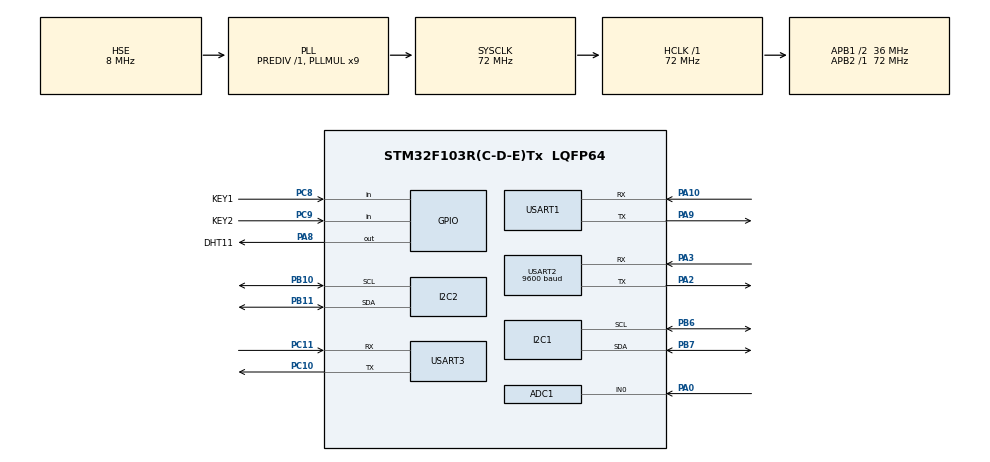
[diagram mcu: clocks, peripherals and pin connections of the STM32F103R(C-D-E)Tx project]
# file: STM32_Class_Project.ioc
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ADC1.Channel-0\#ChannelRegularConversion=ADC_CHANNEL_0
ADC1.ContinuousConvMode=ENABLE
ADC1.NbrOfConversionFlag=1
ADC1.Rank-0\#ChannelRegularConversion=1
ADC1.SamplingTime-0\#ChannelRegularConversion=ADC_SAMPLETIME_1CYCLE_5
ADC1.master=1
Dma.ADC1.0.Direction=DMA_PERIPH_TO_MEMORY
Dma.ADC1.0.Instance=DMA1_Channel1
Dma.ADC1.0.MemDataAlignment=DMA_MDATAALIGN_WORD
Dma.ADC1.0.MemInc=DMA_MINC_ENABLE
Dma.ADC1.0.Mode=DMA_CIRCULAR
Dma.ADC1.0.PeriphDataAlignment=DMA_PDATAALIGN_WORD
Dma.ADC1.0.PeriphInc=DMA_PINC_DISABLE
Dma.ADC1.0.Priority=DMA_PRIORITY_MEDIUM
Dma.Request0=ADC1
Dma.Request1=USART2_RX
Dma.Request2=USART3_RX
Dma.Request3=USART3_TX
Dma.USART2_RX.1.Direction=DMA_PERIPH_TO_MEMORY
Dma.USART2_RX.1.Instance=DMA1_Channel6
Dma.USART2_RX.1.MemDataAlignment=DMA_MDATAALIGN_BYTE
Dma.USART2_RX.1.MemInc=DMA_MINC_ENABLE
Dma.USART2_RX.1.Mode=DMA_NORMAL
Dma.USART2_RX.1.PeriphDataAlignment=DMA_PDATAALIGN_BYTE
Dma.USART2_RX.1.PeriphInc=DMA_PINC_DISABLE
Dma.USART2_RX.1.Priority=DMA_PRIORITY_HIGH
Dma.USART3_RX.2.Direction=DMA_PERIPH_TO_MEMORY
Dma.USART3_RX.2.Instance=DMA1_Channel3
Dma.USART3_RX.2.MemDataAlignment=DMA_MDATAALIGN_BYTE
Dma.USART3_RX.2.MemInc=DMA_MINC_ENABLE
Dma.USART3_RX.2.Mode=DMA_CIRCULAR
Dma.USART3_RX.2.PeriphDataAlignment=DMA_PDATAALIGN_BYTE
Dma.USART3_RX.2.PeriphInc=DMA_PINC_DISABLE
Dma.USART3_RX.2.Priority=DMA_PRIORITY_MEDIUM
Dma.USART3_TX.3.Direction=DMA_MEMORY_TO_PERIPH
Dma.USART3_TX.3.Instance=DMA1_Channel2
Dma.USART3_TX.3.MemDataAlignment=DMA_MDATAALIGN_BYTE
Dma.USART3_TX.3.MemInc=DMA_MINC_ENABLE
Dma.USART3_TX.3.Mode=DMA_NORMAL
Dma.USART3_TX.3.PeriphDataAlignment=DMA_PDATAALIGN_BYTE
Dma.USART3_TX.3.PeriphInc=DMA_PINC_DISABLE
Dma.USART3_TX.3.Priority=DMA_PRIORITY_MEDIUM
I2C2.I2C_Mode=I2C_Fast
Mcu.Family=STM32F1
Mcu.Name=STM32F103R(C-D-E)Tx
Mcu.Package=LQFP64
NVIC.ADC1_2_IRQn=true\:2\:0\:true\:false\:true\:true\:true\:true
NVIC.DMA1_Channel1_IRQn=true\:0\:0\:false\:false\:true\:false\:true\:true
NVIC.DMA1_Channel2_IRQn=true\:0\:0\:false\:false\:true\:false\:true\:true
NVIC.DMA1_Channel3_IRQn=true\:0\:0\:false\:false\:true\:false\:true\:true
NVIC.DMA1_Channel6_IRQn=true\:0\:0\:false\:false\:true\:false\:true\:true
NVIC.PriorityGroup=NVIC_PRIORITYGROUP_4
NVIC.USART1_IRQn=true\:0\:0\:true\:false\:true\:true\:true\:true
NVIC.USART2_IRQn=true\:2\:0\:true\:false\:true\:true\:true\:true
NVIC.USART3_IRQn=true\:0\:0\:false\:false\:true\:true\:true\:true
PA0-WKUP.Signal=ADCx_IN0
PA10.Mode=Asynchronous
PA10.Signal=USART1_RX
PA13.Mode=Serial_Wire
PA13.Signal=SYS_JTMS-SWDIO
PA14.Mode=Serial_Wire
PA14.Signal=SYS_JTCK-SWCLK
PA2.Mode=Asynchronous
PA2.Signal=USART2_TX
PA3.Mode=Asynchronous
PA3.Signal=USART2_RX
PA8.GPIO_Label=DHT11
PA8.Signal=GPIO_Output
PA9.Mode=Asynchronous
PA9.Signal=USART1_TX
PB10.Mode=I2C
PB10.Signal=I2C2_SCL
PB11.Mode=I2C
PB11.Signal=I2C2_SDA
PB6.Mode=I2C
PB6.Signal=I2C1_SCL
PB7.Mode=I2C
PB7.Signal=I2C1_SDA
PC10.Mode=Asynchronous
PC10.Signal=USART3_TX
PC11.Mode=Asynchronous
PC11.Signal=USART3_RX
PC8.GPIO_Label=KEY1
PC8.Signal=GPIO_Input
PC9.GPIO_Label=KEY2
PC9.Signal=GPIO_Input
PD0-OSC_IN.Mode=HSE-External-Oscillator
PD0-OSC_IN.Signal=RCC_OSC_IN
PD1-OSC_OUT.Mode=HSE-External-Oscillator
PD1-OSC_OUT.Signal=RCC_OSC_OUT
ProjectManager.HeapSize=0x200
ProjectManager.StackSize=0x400
ProjectManager.TargetToolchain=CMake
RCC.ADCPresc=RCC_ADCPCLK2_DIV6
RCC.AHBFreq_Value=72000000
RCC.APB1CLKDivider=RCC_HCLK_DIV2
RCC.APB1Freq_Value=36000000
RCC.APB1TimFreq_Value=72000000
RCC.APB2Freq_Value=72000000
RCC.APB2TimFreq_Value=72000000
RCC.HCLKFreq_Value=72000000
RCC.PLLMUL=RCC_PLL_MUL9
RCC.PLLSourceVirtual=RCC_PLLSOURCE_HSE
RCC.SYSCLKFreq_VALUE=72000000
RCC.SYSCLKSource=RCC_SYSCLKSOURCE_PLLCLK
RCC.USBFreq_Value=72000000
SH.ADCx_IN0.0=ADC1_IN0,IN0
TIM3.Prescaler=71
USART1.VirtualMode=VM_ASYNC
USART2.BaudRate=9600
USART2.VirtualMode=VM_ASYNC
USART3.VirtualMode=VM_ASYNC
VP_TIM3_VS_ClockSourceINT.Mode=Internal
board=custom

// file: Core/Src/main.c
/* USER CODE BEGIN Header */
/**
  ******************************************************************************
  * @file           : main.c
  * @brief          : Main program body
  ******************************************************************************
  * @attention
  *
  * Copyright (c) 2025 STMicroelectronics.
  * All rights reserved.
  *
  * This software is licensed under terms that can be found in the LICENSE file
  * in the root directory of this software component.
  * If no LICENSE file comes with this software, it is provided AS-IS.
  *
  ******************************************************************************
  */
/* USER CODE END Header */
#include "main.h"
#include "adc.h"
#include "dma.h"
#include "i2c.h"
#include "tim.h"
#include "usart.h"
#include "gpio.h"

/* USER CODE BEGIN Includes */
#include "bsp_system.h"
#include "max30102_app.h"
#include "oled.h"
#include "gps_app.h"
/* USER CODE END Includes */

void SystemClock_Config(void);

int main(void)
{

  /* MCU Configuration--------------------------------------------------------*/

  /* Reset of all peripherals, Initializes the Flash interface and the Systick. */
  HAL_Init();

  /* Configure the system clock */
  SystemClock_Config();

  /* Initialize all configured peripherals */
  MX_GPIO_Init();
  MX_DMA_Init();
  MX_USART1_UART_Init();
  MX_ADC1_Init();
  MX_TIM3_Init();
  MX_I2C1_Init();
  MX_I2C2_Init();
  MX_USART2_UART_Init();
  MX_USART3_UART_Init();
  /* USER CODE BEGIN 2 */
  // 初始化延时函数
  ringbuffer_init(&usart_rb);  // ✅ 加这一行
  delay_init();

  OLED_Init();
  // printf("OLED Init OK\r\n");

  // 初始化MAX30102并检查结果
  printf("[MAIN] 正在初始化MAX30102...\r\n");
  if (MAX30102_Init()) {
      printf("[MAIN] ✓ MAX30102初始化成功\r\n");
  } else {
      printf("[MAIN] ✗ MAX30102初始化失败！\r\n");
  }
  MQ2_Init();
  MPU6050_Init();
  // MPU6050_DMP_Init();
  // /*max30102测试*/
  // printf("\r\n=== MAX30102测试 ===\r\n");
  // if (MAX30102_Init()) {
  //   printf("✓ 初始化成功!\r\n");
  //   printf("请将手指放在传感器上...\r\n\r\n");
  // } else {
  //   printf("✗ 初始化失败!\r\n");
  // }

  // 等待MPU6050上电稳定
  HAL_Delay(100);

  // 初始化MPU6050 DMP（必须在main中初始化，不能在task中）
  printf("Initializing MPU6050 DMP...\r\n");
  MPU6050_Status_t mpu_status = MPU6050_DMP_Init();
  if (mpu_status == MPU6050_OK)
  {
      printf("MPU6050 DMP Init Success!\r\n");
  }
  else
  {
      printf("MPU6050 DMP Init Failed! System will continue without MPU6050.\r\n");
  }
  printf("System Init Complete\r\n");

  // 初始化GPS定位模块
  // printf("GPS Init OK\r\n");

  // 初始化ESP32通信模块
  ESP32_COMM_Init();
  printf("ESP32 Communication Init OK\r\n");

  scheduler_init();
  // printf("Scheduler Init OK\r\n");
  // printf("System Ready!\r\n");
  /* USER CODE END 2 */

  /* Infinite loop */
  /* USER CODE BEGIN WHILE */
  static uint32_t debug_timer = 0;

  while (1)
  {
    // 运行任务调度器
    scheduler_run();

    // ==================== OLED 多页面显示 ====================
    OLED_Clear();  // 清空缓冲区

    // 根据当前选中的传感器显示不同内容
    switch (current_selected_sensor) {
      case SENSOR_HR:
        // 心率血氧页面
        OLED_ShowString(1, 1, "[HR]");
        OLED_ShowString(1, 6, heart_rate_enabled ? "ON " : "OFF");

        if (heart_rate_enabled) {
          OLED_ShowString(2, 1, "HR:");
          OLED_ShowNum(2, 5, (uint32_t)max30102_data.heart_rate, 3);
          OLED_ShowString(2, 9, "bpm");

          OLED_ShowString(3, 1, "SpO2:");
          OLED_ShowNum(3, 7, (uint32_t)max30102_data.spo2, 3);
          OLED_ShowChar(3, 10, '%');
        } else {
          OLED_ShowString(3, 1, "Press KEY1");
          OLED_ShowString(4, 1, "to START");
        }
        break;

      case SENSOR_TEMP:
        // 温湿度页面
        OLED_ShowString(1, 1, "[TEMP]");
        OLED_ShowString(1, 7, temperature_enabled ? "ON " : "OFF");

        if (temperature_enabled) {
          OLED_ShowString(2, 1, "Temp:");
          OLED_ShowNum(2, 7, dht11_data.temperature, 2);
          OLED_ShowString(2, 9, "C");

          OLED_ShowString(3, 1, "Humi:");
          OLED_ShowNum(3, 7, dht11_data.humidity, 2);
          OLED_ShowString(3, 9, "%");
        } else {
          OLED_ShowString(3, 1, "Press KEY1");
          OLED_ShowString(4, 1, "to START");
        }
        break;

      case SENSOR_MPU:
        // 姿态检测页面
        OLED_ShowString(1, 1, "[MPU]");
        OLED_ShowString(1, 6, mpu6050_enabled ? "ON " : "OFF");

        if (mpu6050_enabled) {
          OLED_ShowString(2, 1, "Pitch:");
          OLED_ShowFloat(2, 7, mpu6050_data.pitch, 3, 1);

          OLED_ShowString(3, 1, "Roll:");
          OLED_ShowFloat(3, 7, mpu6050_data.roll, 3, 1);

          OLED_ShowString(4, 1, "Steps:");
          OLED_ShowNum(4, 8, mpu6050_data.step_count, 4);
        } else {
          OLED_ShowString(3, 1, "Press KEY1");
          OLED_ShowString(4, 1, "to START");
        }
        break;

      case SENSOR_MQ2:
        // 烟雾检测页面
        OLED_ShowString(1, 1, "[MQ2]");
        OLED_ShowString(1, 6, mq2_enabled ? "ON " : "OFF");

        if (mq2_enabled) {
          OLED_ShowString(2, 1, "PPM:");
          OLED_ShowFloat(2, 6, mq2_data.ppm, 4, 1);

          OLED_ShowString(3, 1, "Level:");
          OLED_ShowNum(3, 8, mq2_data.alarm, 1);

          // 显示报警状态文字
          const char* level_text[] = {"Safe", "Low", "Mid", "High"};
          if (mq2_data.alarm < 4) {
            OLED_ShowString(4, 1, (char*)level_text[mq2_data.alarm]);
          }
        } else {
          OLED_ShowString(3, 1, "Press KEY1");
          OLED_ShowString(4, 1, "to START");
        }
        break;

      case SENSOR_GPS:
        // GPS定位页面
        OLED_ShowString(1, 1, "[GPS]");
        OLED_ShowString(1, 6, gps_enabled ? "ON " : "OFF");

        if (gps_enabled) {
          OLED_ShowString(2, 1, "SAT:");
          OLED_ShowNum(2, 5, gps_data.num_satellites, 2);

          OLED_ShowString(3, 1, "Lat:");
          OLED_ShowFloat(3, 5, gps_data.latitude, 2, 4);

          OLED_ShowString(4, 1, "Lon:");
          OLED_ShowFloat(4, 5, gps_data.longitude, 3, 4);
        } else {
          OLED_ShowString(3, 1, "Press KEY1");
          OLED_ShowString(4, 1, "to START");
        }
        break;

      default:
        OLED_ShowString(2, 1, "Unknown");
        break;
    }

    // 刷新OLED显示
    OLED_Flush();

    // 主循环延时
    HAL_Delay(100);  // 每100ms刷新一次OLED

    /* USER CODE END WHILE */

  }
}

void SystemClock_Config(void)
{
  RCC_OscInitTypeDef RCC_OscInitStruct = {0};
  RCC_ClkInitTypeDef RCC_ClkInitStruct = {0};
  RCC_PeriphCLKInitTypeDef PeriphClkInit = {0};

  /** Initializes the RCC Oscillators according to the specified parameters
  * in the RCC_OscInitTypeDef structure.
  */
  RCC_OscInitStruct.OscillatorType = RCC_OSCILLATORTYPE_HSE;
  RCC_OscInitStruct.HSEState = RCC_HSE_ON;
  RCC_OscInitStruct.HSEPredivValue = RCC_HSE_PREDIV_DIV1;
  RCC_OscInitStruct.HSIState = RCC_HSI_ON;
  RCC_OscInitStruct.PLL.PLLState = RCC_PLL_ON;
  RCC_OscInitStruct.PLL.PLLSource = RCC_PLLSOURCE_HSE;
  RCC_OscInitStruct.PLL.PLLMUL = RCC_PLL_MUL9;
  if (HAL_RCC_OscConfig(&RCC_OscInitStruct) != HAL_OK)
  {
    Error_Handler();
  }

  /** Initializes the CPU, AHB and APB buses clocks
  */
  RCC_ClkInitStruct.ClockType = RCC_CLOCKTYPE_HCLK|RCC_CLOCKTYPE_SYSCLK
                              |RCC_CLOCKTYPE_PCLK1|RCC_CLOCKTYPE_PCLK2;
  RCC_ClkInitStruct.SYSCLKSource = RCC_SYSCLKSOURCE_PLLCLK;
  RCC_ClkInitStruct.AHBCLKDivider = RCC_SYSCLK_DIV1;
  RCC_ClkInitStruct.APB1CLKDivider = RCC_HCLK_DIV2;
  RCC_ClkInitStruct.APB2CLKDivider = RCC_HCLK_DIV1;

  if (HAL_RCC_ClockConfig(&RCC_ClkInitStruct, FLASH_LATENCY_2) != HAL_OK)
  {
    Error_Handler();
  }
  PeriphClkInit.PeriphClockSelection = RCC_PERIPHCLK_ADC;
  PeriphClkInit.AdcClockSelection = RCC_ADCPCLK2_DIV6;
  if (HAL_RCCEx_PeriphCLKConfig(&PeriphClkInit) != HAL_OK)
  {
    Error_Handler();
  }
}

void Error_Handler(void)
{
  __disable_irq();
  while (1)
  {
  }
}
